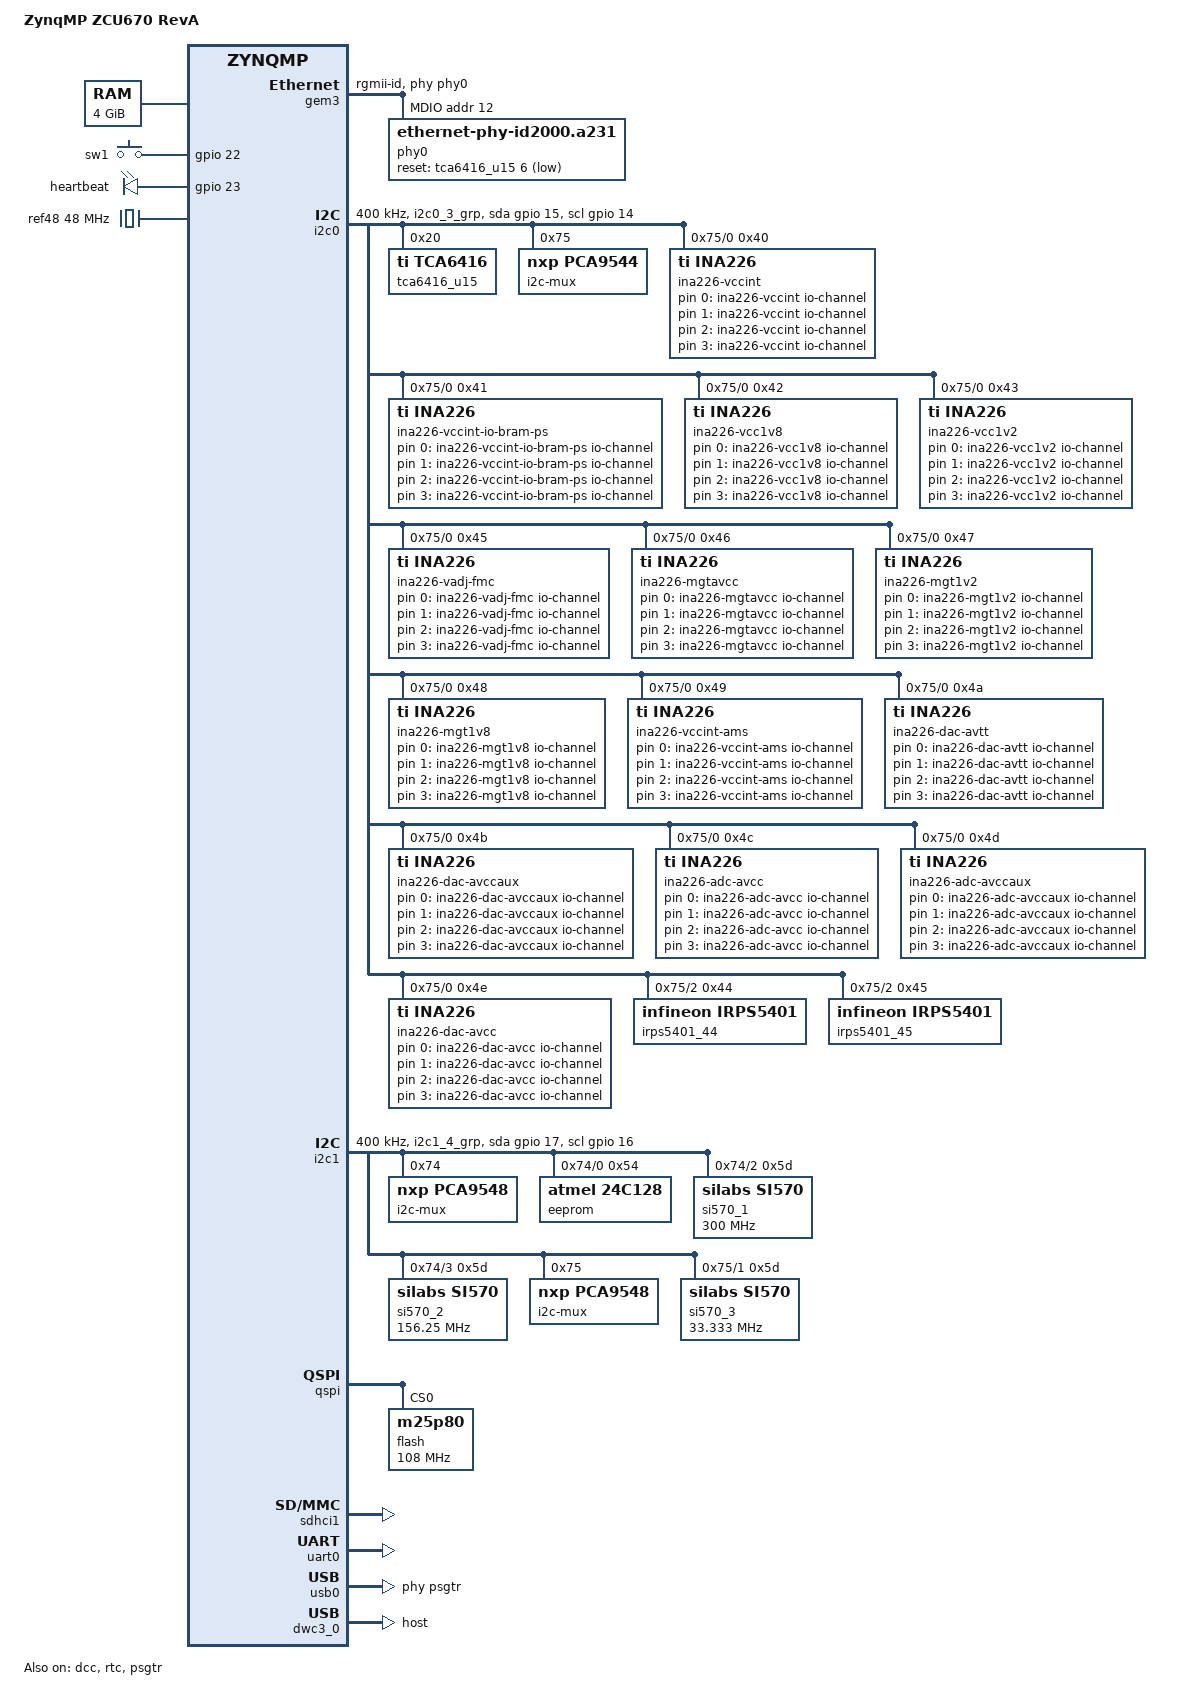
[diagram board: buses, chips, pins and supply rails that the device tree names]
// SPDX-License-Identifier: GPL-2.0
/*
 * dts file for Xilinx ZynqMP ZCU670 (67DR)
 *
 * (C) Copyright 2017 - 2022, Xilinx, Inc.
 * (C) Copyright 2022 - 2023, Advanced Micro Devices, Inc.
 *
 * Michal Simek <michal.simek@amd.com>
 */

/dts-v1/;

#include "zynqmp.dtsi"
#include "zynqmp-clk-ccf.dtsi"
#include <dt-bindings/input/input.h>
#include <dt-bindings/gpio/gpio.h>
#include <dt-bindings/pinctrl/pinctrl-zynqmp.h>
#include <dt-bindings/phy/phy.h>

/ {
	model = "ZynqMP ZCU670 RevA";
	compatible = "xlnx,zynqmp-zcu670-revA", "xlnx,zynqmp-zcu670",
		     "xlnx,zynqmp";

	aliases {
		ethernet0 = &gem3;
		i2c0 = &i2c0;
		i2c1 = &i2c1;
		mmc0 = &sdhci1;
		nvmem0 = &eeprom;
		rtc0 = &rtc;
		serial0 = &uart0;
		serial1 = &dcc;
		spi0 = &qspi;
		usb0 = &usb0;
	};

	chosen {
		bootargs = "earlycon";
		stdout-path = "serial0:115200n8";
	};

	memory@0 {
		device_type = "memory";
		reg = <0 0 0 0x80000000>, <0x8 0x0 0x0 0x80000000>;
		/* Another 4GB connected to PL */
	};

	gpio-keys {
		compatible = "gpio-keys";
		autorepeat;
		sw1 {
			label = "sw1";
			gpios = <&gpio 22 GPIO_ACTIVE_HIGH>;
			linux,code = <BTN_MISC>;
			wakeup-source;
			autorepeat;
		};
	};

	leds {
		compatible = "gpio-leds";
		heartbeat-led {
			label = "heartbeat"; /* DS1 */
			gpios = <&gpio 23 GPIO_ACTIVE_HIGH>;
			linux,default-trigger = "heartbeat";
		};
	};

	ina226-vccint {
		compatible = "iio-hwmon";
		io-channels = <&vccint 0>, <&vccint 1>, <&vccint 2>, <&vccint 3>;
	};
	ina226-vccint-io-bram-ps {
		compatible = "iio-hwmon";
		io-channels = <&vccint_io_bram_ps 0>, <&vccint_io_bram_ps 1>, <&vccint_io_bram_ps 2>, <&vccint_io_bram_ps 3>;
	};
	ina226-vcc1v8 {
		compatible = "iio-hwmon";
		io-channels = <&vcc1v8 0>, <&vcc1v8 1>, <&vcc1v8 2>, <&vcc1v8 3>;
	};
	ina226-vcc1v2 {
		compatible = "iio-hwmon";
		io-channels = <&vcc1v2 0>, <&vcc1v2 1>, <&vcc1v2 2>, <&vcc1v2 3>;
	};
	ina226-vadj-fmc {
		compatible = "iio-hwmon";
		io-channels = <&vadj_fmc 0>, <&vadj_fmc 1>, <&vadj_fmc 2>, <&vadj_fmc 3>;
	};
	ina226-mgtavcc {
		compatible = "iio-hwmon";
		io-channels = <&mgtavcc 0>, <&mgtavcc 1>, <&mgtavcc 2>, <&mgtavcc 3>;
	};
	ina226-mgt1v2 {
		compatible = "iio-hwmon";
		io-channels = <&mgt1v2 0>, <&mgt1v2 1>, <&mgt1v2 2>, <&mgt1v2 3>;
	};
	ina226-mgt1v8 {
		compatible = "iio-hwmon";
		io-channels = <&mgt1v8 0>, <&mgt1v8 1>, <&mgt1v8 2>, <&mgt1v8 3>;
	};
	ina226-vccint-ams {
		compatible = "iio-hwmon";
		io-channels = <&vccint_ams 0>, <&vccint_ams 1>, <&vccint_ams 2>, <&vccint_ams 3>;
	};
	ina226-dac-avtt {
		compatible = "iio-hwmon";
		io-channels = <&dac_avtt 0>, <&dac_avtt 1>, <&dac_avtt 2>, <&dac_avtt 3>;
	};
	ina226-dac-avccaux {
		compatible = "iio-hwmon";
		io-channels = <&dac_avccaux 0>, <&dac_avccaux 1>, <&dac_avccaux 2>, <&dac_avccaux 3>;
	};
	ina226-adc-avcc {
		compatible = "iio-hwmon";
		io-channels = <&adc_avcc 0>, <&adc_avcc 1>, <&adc_avcc 2>, <&adc_avcc 3>;
	};
	ina226-adc-avccaux {
		compatible = "iio-hwmon";
		io-channels = <&adc_avccaux 0>, <&adc_avccaux 1>, <&adc_avccaux 2>, <&adc_avccaux 3>;
	};
	ina226-dac-avcc {
		compatible = "iio-hwmon";
		io-channels = <&dac_avcc 0>, <&dac_avcc 1>, <&dac_avcc 2>, <&dac_avcc 3>;
	};

	/* 48MHz reference crystal */
	ref48: ref48M {
		compatible = "fixed-clock";
		#clock-cells = <0>;
		clock-frequency = <48000000>;
	};

	si5381_6: si5381-6 { /* refclk_usb3 - u43 */
		compatible = "fixed-clock";
		#clock-cells = <0>;
		clock-frequency = <26000000>;
	};
};

&dcc {
	status = "okay";
};

&fpd_dma_chan1 {
	status = "okay";
};

&fpd_dma_chan2 {
	status = "okay";
};

&fpd_dma_chan3 {
	status = "okay";
};

&fpd_dma_chan4 {
	status = "okay";
};

&fpd_dma_chan5 {
	status = "okay";
};

&fpd_dma_chan6 {
	status = "okay";
};

&fpd_dma_chan7 {
	status = "okay";
};

&fpd_dma_chan8 {
	status = "okay";
};

&gem3 {
	status = "okay";
	phy-handle = <&phy0>;
	phy-mode = "rgmii-id";
	mdio: mdio {
		#address-cells = <1>;
		#size-cells = <0>;
		phy0: ethernet-phy@c {
			#phy-cells = <1>;
			compatible = "ethernet-phy-id2000.a231";
			reg = <0xc>;
			ti,rx-internal-delay = <0x8>;
			ti,tx-internal-delay = <0xa>;
			ti,fifo-depth = <0x1>;
			ti,dp83867-rxctrl-strap-quirk;
			reset-gpios = <&tca6416_u15 6 GPIO_ACTIVE_LOW>;
		};
	};
};

&gpio {
	status = "okay";
	gpio-line-names = "QSPI_LWR_CLK", "QSPI_LWR_DQ1", "QSPI_LWR_DQ2", "QSPI_LWR_DQ3", "QSPI_LWR_DQ0", /* 0 - 4 */
		  "QSPI_LWR_CS_B", "", "QSPI_UPR_CS_B", "QSPI_UPR_DQ0", "QSPI_UPR_DQ1", /* 5 - 9 */
		  "QSPI_UPR_DQ2", "QSPI_UPR_DQ3", "QSPI_UPR_CLK", "PS_GPIO2", "I2C0_SCL", /* 10 - 14 */
		  "I2C0_SDA", "I2C1_SCL", "I2C1_SDA", "UART0_TXD", "UART0_RXD", /* 15 - 19 */
		  "", "", "BUTTON", "LED", "", /* 20 - 24 */
		  "", "PMU_INPUT", "SFP3_TX_DISABLE", "SFP2_TX_DISABLE", "SFP1_TX_DISABLE", /* 25 - 29 */
		  "SFP0_TX_DISABLE", "", "PMU_GPO0", "PMU_GPO1", "PMU_GPO2", /* 30 - 34 */
		  "PMU_GPO3", "PMU_GPO4", "PMU_GPO5", "PS_GPIO1", "SDIO_SEL", /* 35 - 39 */
		  "SDIO_DIR_CMD", "SDIO_DIR_DAT0", "SDIO_DIR_DAT1", "SD_PWR_RST", "", /* 40 - 44 */
		  "SDIO_DETECT", "SDIO_DAT0", "SDIO_DAT1", "SDIO_DAT2", "SDIO_DAT3", /* 45 - 49 */
		  "SDIO_CMD", "SDIO_CLK", "USB_CLK", "USB_DIR", "USB_DATA2", /* 50 - 54 */
		  "USB_NXT", "USB_DATA0", "USB_DATA1", "USB_STP", "USB_DATA3", /* 55 - 59 */
		  "USB_DATA4", "USB_DATA5", "USB_DATA6", "USB_DATA7", "ENET_TX_CLK", /* 60 - 64 */
		  "ENET_TX_D0", "ENET_TX_D1", "ENET_TX_D2", "ENET_TX_D3", "ENET_TX_CTRL", /* 65 - 69 */
		  "ENET_RX_CLK", "ENET_RX_D0", "ENET_RX_D1", "ENET_RX_D2", "ENET_RX_D3", /* 70 - 74 */
		  "ENET_RX_CTRL", "ENET_MDC", "ENET_MDIO", /* 75 - 77, MIO end and EMIO start */
		  "", "", /* 78 - 79 */
		  "", "", "", "", "", /* 80 - 84 */
		  "", "", "", "", "", /* 85 - 89 */
		  "", "", "", "", "", /* 90 - 94 */
		  "", "", "", "", "", /* 95 - 99 */
		  "", "", "", "", "", /* 100 - 104 */
		  "", "", "", "", "", /* 105 - 109 */
		  "", "", "", "", "", /* 110 - 114 */
		  "", "", "", "", "", /* 115 - 119 */
		  "", "", "", "", "", /* 120 - 124 */
		  "", "", "", "", "", /* 125 - 129 */
		  "", "", "", "", "", /* 130 - 134 */
		  "", "", "", "", "", /* 135 - 139 */
		  "", "", "", "", "", /* 140 - 144 */
		  "", "", "", "", "", /* 145 - 149 */
		  "", "", "", "", "", /* 150 - 154 */
		  "", "", "", "", "", /* 155 - 159 */
		  "", "", "", "", "", /* 160 - 164 */
		  "", "", "", "", "", /* 165 - 169 */
		  "", "", "", ""; /* 170 - 173 */
};

&i2c0 {
	status = "okay";
	clock-frequency = <400000>;
	pinctrl-names = "default", "gpio";
	pinctrl-0 = <&pinctrl_i2c0_default>;
	pinctrl-1 = <&pinctrl_i2c0_gpio>;
	scl-gpios = <&gpio 14 (GPIO_ACTIVE_HIGH | GPIO_OPEN_DRAIN)>;
	sda-gpios = <&gpio 15 (GPIO_ACTIVE_HIGH | GPIO_OPEN_DRAIN)>;

	tca6416_u15: gpio@20 { /* u15 */
		compatible = "ti,tca6416";
		reg = <0x20>;
		gpio-controller; /* interrupt not connected */
		#gpio-cells = <2>;
		gpio-line-names = "MAX6643_OT_B", "MAX6643_FANFAIL_B", "MIO26_PMU_INPUT_LS", "DAC_AVTT_VOUT_SEL", /* 0 - 3 */
				  "SI5381_INT_ALM", "IIC_MUX_RESET_B", "GEM3_EXP_RESET_B", "MAX6643_FULL_SPEED", /* 4 - 7 */
				  "FMCP_HSPC_PRSNT_M2C_B", "", "", "VCCINT_VRHOT_B", /* 10 - 13 */
				  "", "8A34001_EXP_RST_B", "IRPS5401_ALERT_B", "INA226_PMBUS_ALERT"; /* 14 - 17 */
	};

	i2c-mux@75 { /* u17 */
		compatible = "nxp,pca9544";
		#address-cells = <1>;
		#size-cells = <0>;
		reg = <0x75>;
		i2c@0 {
			#address-cells = <1>;
			#size-cells = <0>;
			reg = <0>;
			/* PS_PMBUS */
			/* PMBUS_ALERT done via pca9544 */
			vccint: ina226@40 { /* u65 */
				compatible = "ti,ina226";
				#io-channel-cells = <1>;
				label = "ina226-vccint";
				reg = <0x40>;
				shunt-resistor = <5000>;
			};
			vccint_io_bram_ps: ina226@41 { /* u57 */
				compatible = "ti,ina226";
				#io-channel-cells = <1>;
				label = "ina226-vccint-io-bram-ps";
				reg = <0x41>;
				shunt-resistor = <5000>;
			};
			vcc1v8: ina226@42 { /* u60 */
				compatible = "ti,ina226";
				#io-channel-cells = <1>;
				label = "ina226-vcc1v8";
				reg = <0x42>;
				shunt-resistor = <2000>;
			};
			vcc1v2: ina226@43 { /* u58 */
				compatible = "ti,ina226";
				#io-channel-cells = <1>;
				label = "ina226-vcc1v2";
				reg = <0x43>;
				shunt-resistor = <5000>;
			};
			vadj_fmc: ina226@45 { /* u62 */
				compatible = "ti,ina226";
				#io-channel-cells = <1>;
				label = "ina226-vadj-fmc";
				reg = <0x45>;
				shunt-resistor = <5000>;
			};
			mgtavcc: ina226@46 { /* u67 */
				compatible = "ti,ina226";
				#io-channel-cells = <1>;
				label = "ina226-mgtavcc";
				reg = <0x46>;
				shunt-resistor = <2000>;
			};
			mgt1v2: ina226@47 { /* u63 */
				compatible = "ti,ina226";
				#io-channel-cells = <1>;
				label = "ina226-mgt1v2";
				reg = <0x47>;
				shunt-resistor = <5000>; /* Not in schematics */
			};
			mgt1v8: ina226@48 { /* u64 */
				compatible = "ti,ina226";
				#io-channel-cells = <1>;
				label = "ina226-mgt1v8";
				reg = <0x48>;
				shunt-resistor = <5000>;
			};
			vccint_ams: ina226@49 { /* u61 */
				compatible = "ti,ina226";
				#io-channel-cells = <1>;
				label = "ina226-vccint-ams";
				reg = <0x49>;
				shunt-resistor = <5000>;
			};
			dac_avtt: ina226@4a { /* u59 */
				compatible = "ti,ina226";
				#io-channel-cells = <1>;
				label = "ina226-dac-avtt";
				reg = <0x4a>;
				shunt-resistor = <5000>;
			};
			dac_avccaux: ina226@4b { /* u124 */
				compatible = "ti,ina226";
				#io-channel-cells = <1>;
				label = "ina226-dac-avccaux";
				reg = <0x4b>;
				shunt-resistor = <5000>;
			};
			adc_avcc: ina226@4c { /* u75 */
				compatible = "ti,ina226";
				#io-channel-cells = <1>;
				label = "ina226-adc-avcc";
				reg = <0x4c>;
				shunt-resistor = <5000>;
			};
			adc_avccaux: ina226@4d { /* u71 */
				compatible = "ti,ina226";
				#io-channel-cells = <1>;
				label = "ina226-adc-avccaux";
				reg = <0x4d>;
				shunt-resistor = <5000>;
			};
			dac_avcc: ina226@4e { /* u77 */
				compatible = "ti,ina226";
				#io-channel-cells = <1>;
				label = "ina226-dac-avcc";
				reg = <0x4e>;
				shunt-resistor = <5000>;
			};
		};
		i2c@1 {
			#address-cells = <1>;
			#size-cells = <0>;
			reg = <1>;
			/* NC */
		};
		i2c@2 {
			#address-cells = <1>;
			#size-cells = <0>;
			reg = <2>;
			/* u104 - ir35215 0x10/0x40 */
			/* u127 - ir38164 0x1b/0x4b */
			/* u112 - ir38164 0x13/0x43 */
			/* u123 - ir38164 0x1c/0x4c */

			irps5401_44: irps5401@44 { /* IRPS5401 - u53 */
				compatible = "infineon,irps5401";
				reg = <0x44>; /* i2c addr 0x14 */
			};
			irps5401_45: irps5401@45 { /* IRPS5401 - u55 */
				compatible = "infineon,irps5401";
				reg = <0x45>; /* i2c addr 0x15 */
			};
			/* J21 header too */

		};
		i2c@3 {
			#address-cells = <1>;
			#size-cells = <0>;
			reg = <3>;
			/* SYSMON */
		};
	};
	/* u38 MPS430 */
};

&i2c1 {
	status = "okay";
	clock-frequency = <400000>;
	pinctrl-names = "default", "gpio";
	pinctrl-0 = <&pinctrl_i2c1_default>;
	pinctrl-1 = <&pinctrl_i2c1_gpio>;
	scl-gpios = <&gpio 16 (GPIO_ACTIVE_HIGH | GPIO_OPEN_DRAIN)>;
	sda-gpios = <&gpio 17 (GPIO_ACTIVE_HIGH | GPIO_OPEN_DRAIN)>;

	i2c-mux@74 {
		compatible = "nxp,pca9548"; /* u20 */
		#address-cells = <1>;
		#size-cells = <0>;
		reg = <0x74>;
		/* FIXME reset-gpios = <&tca6416_u15 SYSCTLR_IIC_MUX0_RESET_B GPIO_ACTIVE_HIGH>; */
		i2c_eeprom: i2c@0 {
			#address-cells = <1>;
			#size-cells = <0>;
			reg = <0>;
			/*
			 * IIC_EEPROM 1kB memory which uses 256B blocks
			 * where every block has different address.
			 *    0 - 256B address 0x54
			 * 256B - 512B address 0x55
			 * 512B - 768B address 0x56
			 * 768B - 1024B address 0x57
			 */
			eeprom: eeprom@54 { /* u21 */
				compatible = "atmel,24c128";
				reg = <0x54>;
			};
		};
		i2c_si5381: i2c@1 {
			#address-cells = <1>;
			#size-cells = <0>;
			reg = <1>;
			/* SI5381 - u43 */
			/* si5381: clock-generator@68 {
				reg = <0x68>;
			};*/
		};
		i2c_si570_user_c0: i2c@2 {
			#address-cells = <1>;
			#size-cells = <0>;
			reg = <2>;
			si570_1: clock-generator@5d { /* USER C0 SI570 - u47 */
				#clock-cells = <0>;
				compatible = "silabs,si570";
				reg = <0x5d>;
				temperature-stability = <50>;
				factory-fout = <300000000>;
				clock-frequency = <300000000>;
				clock-output-names = "si570_user_c0";
			};
		};
		i2c_si570_mgt: i2c@3 {
			#address-cells = <1>;
			#size-cells = <0>;
			reg = <3>;
			si570_2: clock-generator@5d { /* USER MGT SI570 - u48 */
				#clock-cells = <0>;
				compatible = "silabs,si570";
				reg = <0x5d>;
				temperature-stability = <50>;
				factory-fout = <156250000>;
				clock-frequency = <156250000>;
				clock-output-names = "si570_mgt";
			};
		};
		i2c_8a34001: i2c@4 {
			#address-cells = <1>;
			#size-cells = <0>;
			reg = <4>;
			/* U409B - 8a34001 */
		};
		i2c_clk104: i2c@5 {
			#address-cells = <1>;
			#size-cells = <0>;
			reg = <5>;
			/* CLK104_SDA */
		};
		i2c@6 {
			#address-cells = <1>;
			#size-cells = <0>;
			reg = <6>;
			/* RFMCP connector */
		};
		/* 7 NC */
	};

	i2c-mux@75 {
		compatible = "nxp,pca9548"; /* u22 */
		#address-cells = <1>;
		#size-cells = <0>;
		reg = <0x75>;
		/* FIXME reset-gpios = <&tca6416_u15 SYSCTLR_IIC_MUX0_RESET_B GPIO_ACTIVE_HIGH>; */
		i2c@0 {
			#address-cells = <1>;
			#size-cells = <0>;
			reg = <0>;
			/* FMCP_HSPC_IIC */
		};
		i2c_si570_psrefclk: i2c@1 {
			#address-cells = <1>;
			#size-cells = <0>;
			reg = <1>;
			si570_3: clock-generator@5d { /* USER SI570 PSREFCLK - u130 */
				#clock-cells = <0>;
				compatible = "silabs,si570";
				reg = <0x5d>;
				temperature-stability = <50>;
				factory-fout = <33333333>;
				clock-frequency = <33333333>;
				clock-output-names = "si570_ps_ref_clk";
				silabs,skip-recall;
			};
		};
		i2c@2 {
			#address-cells = <1>;
			#size-cells = <0>;
			reg = <2>;
			/* SYSMON */
		};
		i2c@3 {
			#address-cells = <1>;
			#size-cells = <0>;
			reg = <3>;
			/* DDR4 SODIMM */
		};
		i2c@4 {
			#address-cells = <1>;
			#size-cells = <0>;
			reg = <4>;
			/* SFP3 */
		};
		i2c@5 {
			#address-cells = <1>;
			#size-cells = <0>;
			reg = <5>;
			/* SFP2 */
		};
		i2c@6 {
			#address-cells = <1>;
			#size-cells = <0>;
			reg = <6>;
			/* SFP1 */
		};
		i2c@7 {
			#address-cells = <1>;
			#size-cells = <0>;
			reg = <7>;
			/* SFP0 */
		};
	};
	/* u38 MPS430 */
};

&pinctrl0 {
	status = "okay";
	pinctrl_i2c0_default: i2c0-default {
		mux {
			groups = "i2c0_3_grp";
			function = "i2c0";
		};

		conf {
			groups = "i2c0_3_grp";
			bias-pull-up;
			slew-rate = <SLEW_RATE_SLOW>;
			power-source = <IO_STANDARD_LVCMOS18>;
		};
	};

	pinctrl_i2c0_gpio: i2c0-gpio-grp {
		mux {
			groups = "gpio0_14_grp", "gpio0_15_grp";
			function = "gpio0";
		};

		conf {
			groups = "gpio0_14_grp", "gpio0_15_grp";
			slew-rate = <SLEW_RATE_SLOW>;
			power-source = <IO_STANDARD_LVCMOS18>;
		};
	};

	pinctrl_i2c1_default: i2c1-default {
		mux {
			groups = "i2c1_4_grp";
			function = "i2c1";
		};

		conf {
			groups = "i2c1_4_grp";
			bias-pull-up;
			slew-rate = <SLEW_RATE_SLOW>;
			power-source = <IO_STANDARD_LVCMOS18>;
		};
	};

	pinctrl_i2c1_gpio: i2c1-gpio-grp {
		mux {
			groups = "gpio0_16_grp", "gpio0_17_grp";
			function = "gpio0";
		};

		conf {
			groups = "gpio0_16_grp", "gpio0_17_grp";
			slew-rate = <SLEW_RATE_SLOW>;
			power-source = <IO_STANDARD_LVCMOS18>;
		};
	};
};

&qspi {
	status = "okay";
	num-cs = <2>;
	flash@0 {
		compatible = "m25p80", "jedec,spi-nor"; /* U11 and U12 MT25QU02GCBBE12 2Gb */
		#address-cells = <1>;
		#size-cells = <1>;
		reg = <0>, <1>;
		parallel-memories = /bits/ 64 <0x10000000 0x10000000>; /* 256MB */
		spi-tx-bus-width = <4>;
		spi-rx-bus-width = <4>; /* FIXME also DUAL configuration possible */
		spi-max-frequency = <108000000>; /* Based on DC1 spec */
	};
};

&rtc {
	status = "okay";
};

/* SD1 with level shifter */
&sdhci1 {
	status = "okay";
	disable-wp;
	/*
	 * This property should be removed for supporting UHS mode
	 */
	no-1-8-v;
	xlnx,mio-bank = <1>;
};

&psgtr {
	status = "okay";
	/* hspc_dp4, hspc_dp5, usb3, hspc_dp6 */
	clocks = <&si5381_6>;
	clock-names = "ref2";
};

&uart0 {
	status = "okay";
};

/* ULPI SMSC USB3320 */
&usb0 {
	status = "okay";
	phy-names = "usb3-phy";
	phys = <&psgtr 2 PHY_TYPE_USB3 0 2>;
};

&dwc3_0 {
	status = "okay";
	dr_mode = "host";
	snps,usb3_lpm_capable;
};
